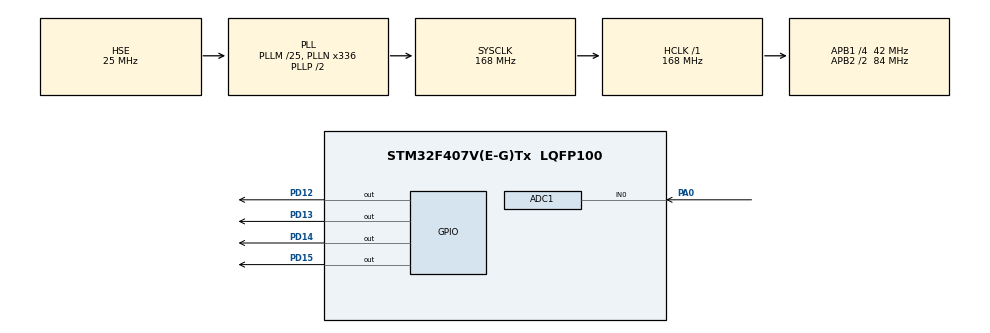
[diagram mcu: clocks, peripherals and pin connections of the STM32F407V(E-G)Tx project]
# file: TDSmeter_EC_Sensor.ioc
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ADC1.Channel-0\#ChannelRegularConversion=ADC_CHANNEL_0
ADC1.ContinuousConvMode=ENABLE
ADC1.NbrOfConversionFlag=1
ADC1.Rank-0\#ChannelRegularConversion=1
ADC1.SamplingTime-0\#ChannelRegularConversion=ADC_SAMPLETIME_3CYCLES
ADC1.master=1
Mcu.Family=STM32F4
Mcu.Name=STM32F407V(E-G)Tx
Mcu.Package=LQFP100
NVIC.PriorityGroup=NVIC_PRIORITYGROUP_4
PA0-WKUP.Signal=ADCx_IN0
PA13.Mode=Serial_Wire
PA13.Signal=SYS_JTMS-SWDIO
PA14.Mode=Serial_Wire
PA14.Signal=SYS_JTCK-SWCLK
PD12.Signal=GPIO_Output
PD13.Signal=GPIO_Output
PD14.Signal=GPIO_Output
PD15.Signal=GPIO_Output
PH0-OSC_IN.Mode=HSE-External-Oscillator
PH0-OSC_IN.Signal=RCC_OSC_IN
PH1-OSC_OUT.Mode=HSE-External-Oscillator
PH1-OSC_OUT.Signal=RCC_OSC_OUT
ProjectManager.HeapSize=0x200
ProjectManager.StackSize=0x400
ProjectManager.TargetToolchain=STM32CubeIDE
RCC.48MHZClocksFreq_Value=84000000
RCC.AHBFreq_Value=168000000
RCC.APB1CLKDivider=RCC_HCLK_DIV4
RCC.APB1Freq_Value=42000000
RCC.APB1TimFreq_Value=84000000
RCC.APB2CLKDivider=RCC_HCLK_DIV2
RCC.APB2Freq_Value=84000000
RCC.APB2TimFreq_Value=168000000
RCC.CortexFreq_Value=168000000
RCC.HCLKFreq_Value=168000000
RCC.HSE_VALUE=25000000
RCC.HSI_VALUE=16000000
RCC.LSE_VALUE=32768
RCC.PLLM=25
RCC.PLLN=336
RCC.PLLSourceVirtual=RCC_PLLSOURCE_HSE
RCC.SYSCLKFreq_VALUE=168000000
RCC.SYSCLKSource=RCC_SYSCLKSOURCE_PLLCLK
RCC.VCOOutputFreq_Value=336000000
SH.ADCx_IN0.0=ADC1_IN0,IN0
board=custom

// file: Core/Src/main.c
/* USER CODE BEGIN Header */
/**
  ******************************************************************************
  * @file           : main.c
  * @brief          : Main program body
  ******************************************************************************
  * @attention
  *
  * Copyright (c) 2024 STMicroelectronics.
  * All rights reserved.
  *
  * This software is licensed under terms that can be found in the LICENSE file
  * in the root directory of this software component.
  * If no LICENSE file comes with this software, it is provided AS-IS.
  *
  ******************************************************************************
  */
/* USER CODE END Header */
#include "main.h"

ADC_HandleTypeDef hadc1;

/* USER CODE BEGIN PV */

#define VREF 5.0           // analog reference voltage(Volt) of the ADC
#define SCOUNT 30          // sum of sample point
uint32_t analogBuffer[SCOUNT];  // store the analog value in the array, read from ADC
uint32_t analogBufferTemp[SCOUNT];
uint32_t analogBufferIndex = 0, copyIndex = 0;
float averageVoltage = 0, tdsValue = 0, temperature = 25;

uint32_t* adc_val = 0;

/* USER CODE END PV */

void SystemClock_Config(void);
static void MX_GPIO_Init(void);
static void MX_ADC1_Init(void);

/* USER CODE BEGIN 0 */

/*
void EC_Read_ADC()
{
	HAL_ADC_Start(&hadc1);
	for(analogBufferIndex = 0; analogBufferIndex <= SCOUNT; analogBufferIndex++)
	{
		HAL_Delay(40);
		if(HAL_ADC_PollForConversion(&hadc1, HAL_MAX_DELAY) == HAL_OK)
		{
			analogBuffer[analogBufferIndex] = HAL_ADC_GetValue(&hadc1);
		}
	}
	HAL_ADC_Stop(&hadc1);
}
*/

uint16_t EC_Read_ADC()
{
	uint16_t adc_val = 0;
	HAL_ADC_Start(&hadc1);
	if(HAL_ADC_PollForConversion(&hadc1, HAL_MAX_DELAY) == HAL_OK)
	{
		adc_val = HAL_ADC_GetValue(&hadc1);
	}
	HAL_ADC_Stop(&hadc1);
	return adc_val;
}

void EC_Buffera_Topla()
{
	for(int i = 0; i <= SCOUNT; i++)
	{
		analogBuffer[i] = ( EC_Read_ADC() / 10);
		HAL_Delay(50);
	}
}

float EC_Get_Median_Num(uint32_t *bArray, int iFilterLen) {
  uint32_t bTab[iFilterLen];
  for (uint8_t i = 0; i < iFilterLen; i++)
    bTab[i] = bArray[i];
  int i, j;
  float bTemp;

  for (j = 0; j < iFilterLen - 1; j++) {
    for (i = 0; i < iFilterLen - j - 1; i++) {
      if (bTab[i] > bTab[i + 1]) {
        bTemp = bTab[i];
        bTab[i] = bTab[i + 1];
        bTab[i + 1] = bTemp;
      }
    }
  }
  if ((iFilterLen & 1) > 0)
    bTemp = bTab[(iFilterLen - 1) / 2];

  else
    bTemp = (bTab[iFilterLen / 2] + bTab[iFilterLen / 2 - 1]) / 2;
  return bTemp * 1.48148148;
}

void EC_Get_Value()
{
	EC_Buffera_Topla();
    averageVoltage = EC_Get_Median_Num(analogBuffer, SCOUNT) * (float)VREF / 1024.0;
    float compensationCoefficient = 1.0 + 0.02 * (temperature - 25.0);                                                                                                                //temperature compensation formula: fFinalResult(25^C) = fFinalResult(current)/(1.0+0.02*(fTP-25.0));
    float compensationVolatge = averageVoltage / compensationCoefficient;                                                                                                             //temperature compensation
    tdsValue = (133.42 * compensationVolatge * compensationVolatge * compensationVolatge - 255.86 * compensationVolatge * compensationVolatge + 857.39 * compensationVolatge) * 0.5;  //convert voltage value to tds value
    HAL_Delay(800);

}

/* USER CODE END 0 */

int main(void)
{

  /* MCU Configuration--------------------------------------------------------*/

  /* Reset of all peripherals, Initializes the Flash interface and the Systick. */
  HAL_Init();

  /* Configure the system clock */
  SystemClock_Config();

  /* Initialize all configured peripherals */
  MX_GPIO_Init();
  MX_ADC1_Init();

  /* Infinite loop */
  while (1)
  {

    /* USER CODE BEGIN 3 */

	  //EC_Get_Value();
	  HAL_GPIO_TogglePin(GPIOD, GPIO_PIN_12 | GPIO_PIN_13 | GPIO_PIN_14 | GPIO_PIN_15);
	  //EC_Read_ADC();
	  EC_Get_Value();
	  HAL_Delay(100);

  }
  /* USER CODE END 3 */
}

void SystemClock_Config(void)
{
  RCC_OscInitTypeDef RCC_OscInitStruct = {0};
  RCC_ClkInitTypeDef RCC_ClkInitStruct = {0};

  /** Configure the main internal regulator output voltage
  */
  __HAL_RCC_PWR_CLK_ENABLE();
  __HAL_PWR_VOLTAGESCALING_CONFIG(PWR_REGULATOR_VOLTAGE_SCALE1);

  /** Initializes the RCC Oscillators according to the specified parameters
  * in the RCC_OscInitTypeDef structure.
  */
  RCC_OscInitStruct.OscillatorType = RCC_OSCILLATORTYPE_HSE;
  RCC_OscInitStruct.HSEState = RCC_HSE_ON;
  RCC_OscInitStruct.PLL.PLLState = RCC_PLL_ON;
  RCC_OscInitStruct.PLL.PLLSource = RCC_PLLSOURCE_HSE;
  RCC_OscInitStruct.PLL.PLLM = 25;
  RCC_OscInitStruct.PLL.PLLN = 336;
  RCC_OscInitStruct.PLL.PLLP = RCC_PLLP_DIV2;
  RCC_OscInitStruct.PLL.PLLQ = 4;
  if (HAL_RCC_OscConfig(&RCC_OscInitStruct) != HAL_OK)
  {
    Error_Handler();
  }

  /** Initializes the CPU, AHB and APB buses clocks
  */
  RCC_ClkInitStruct.ClockType = RCC_CLOCKTYPE_HCLK|RCC_CLOCKTYPE_SYSCLK
                              |RCC_CLOCKTYPE_PCLK1|RCC_CLOCKTYPE_PCLK2;
  RCC_ClkInitStruct.SYSCLKSource = RCC_SYSCLKSOURCE_PLLCLK;
  RCC_ClkInitStruct.AHBCLKDivider = RCC_SYSCLK_DIV1;
  RCC_ClkInitStruct.APB1CLKDivider = RCC_HCLK_DIV4;
  RCC_ClkInitStruct.APB2CLKDivider = RCC_HCLK_DIV2;

  if (HAL_RCC_ClockConfig(&RCC_ClkInitStruct, FLASH_LATENCY_5) != HAL_OK)
  {
    Error_Handler();
  }
}

static void MX_ADC1_Init(void)
{

  ADC_ChannelConfTypeDef sConfig = {0};

  /** Configure the global features of the ADC (Clock, Resolution, Data Alignment and number of conversion)
  */
  hadc1.Instance = ADC1;
  hadc1.Init.ClockPrescaler = ADC_CLOCK_SYNC_PCLK_DIV4;
  hadc1.Init.Resolution = ADC_RESOLUTION_12B;
  hadc1.Init.ScanConvMode = DISABLE;
  hadc1.Init.ContinuousConvMode = ENABLE;
  hadc1.Init.DiscontinuousConvMode = DISABLE;
  hadc1.Init.ExternalTrigConvEdge = ADC_EXTERNALTRIGCONVEDGE_NONE;
  hadc1.Init.ExternalTrigConv = ADC_SOFTWARE_START;
  hadc1.Init.DataAlign = ADC_DATAALIGN_RIGHT;
  hadc1.Init.NbrOfConversion = 1;
  hadc1.Init.DMAContinuousRequests = DISABLE;
  hadc1.Init.EOCSelection = ADC_EOC_SINGLE_CONV;
  if (HAL_ADC_Init(&hadc1) != HAL_OK)
  {
    Error_Handler();
  }

  /** Configure for the selected ADC regular channel its corresponding rank in the sequencer and its sample time.
  */
  sConfig.Channel = ADC_CHANNEL_0;
  sConfig.Rank = 1;
  sConfig.SamplingTime = ADC_SAMPLETIME_3CYCLES;
  if (HAL_ADC_ConfigChannel(&hadc1, &sConfig) != HAL_OK)
  {
    Error_Handler();
  }

}

static void MX_GPIO_Init(void)
{
  GPIO_InitTypeDef GPIO_InitStruct = {0};

  /* GPIO Ports Clock Enable */
  __HAL_RCC_GPIOH_CLK_ENABLE();
  __HAL_RCC_GPIOA_CLK_ENABLE();
  __HAL_RCC_GPIOD_CLK_ENABLE();

  /*Configure GPIO pin Output Level */
  HAL_GPIO_WritePin(GPIOD, GPIO_PIN_12|GPIO_PIN_13|GPIO_PIN_14|GPIO_PIN_15, GPIO_PIN_RESET);

  /*Configure GPIO pins : PD12 PD13 PD14 PD15 */
  GPIO_InitStruct.Pin = GPIO_PIN_12|GPIO_PIN_13|GPIO_PIN_14|GPIO_PIN_15;
  GPIO_InitStruct.Mode = GPIO_MODE_OUTPUT_PP;
  GPIO_InitStruct.Pull = GPIO_NOPULL;
  GPIO_InitStruct.Speed = GPIO_SPEED_FREQ_LOW;
  HAL_GPIO_Init(GPIOD, &GPIO_InitStruct);

}

void Error_Handler(void)
{
  __disable_irq();
  while (1)
  {
  }
}
